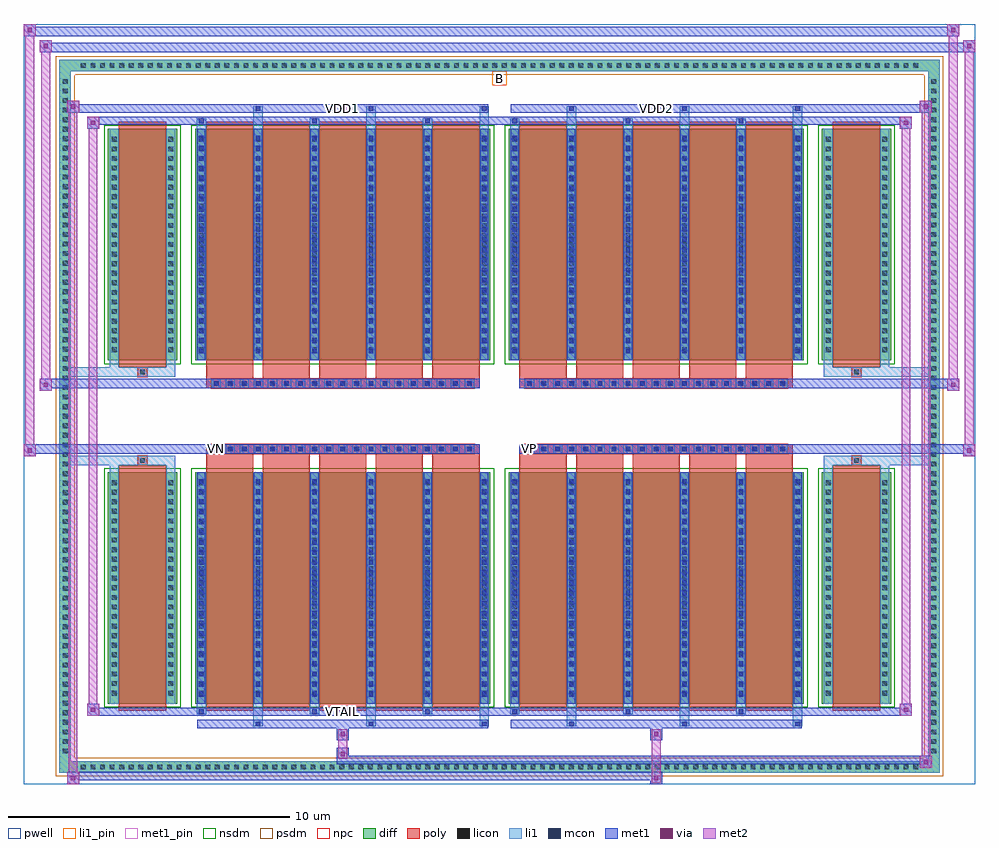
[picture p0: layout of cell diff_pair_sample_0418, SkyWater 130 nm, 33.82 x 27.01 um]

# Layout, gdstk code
import gdstk
lib = gdstk.Library(unit=1e-6, precision=5e-09)
def R(c, l, rs):  # rectangles x0, y0, x1, y1
    for r in rs: c.add(gdstk.rectangle(r[:2], r[2:], *l))
def A(c, l, x, y, w, h, nx, ny, dx, dy):  # array of equal rectangles
    R(c, l, [(x+i*dx, y+j*dy, x+i*dx+w, y+j*dy+h) for i in range(nx) for j in range(ny)])
def P(c, l, *ps):  # polygons
    for p in ps: c.add(gdstk.Polygon(p, *l))
pwell = (64, 44)
diff = (65, 20)
poly = (66, 20)
licon = (66, 44)
li1_pin = (67, 16)
li1 = (67, 20)
mcon = (67, 44)
met1_pin = (68, 16)
met1 = (68, 20)
via = (68, 44)
met2 = (69, 20)
nsdm = (93, 44)
psdm = (94, 20)
npc = (95, 20)

diff_pair_sample_0418 = lib.new_cell('diff_pair_sample_0418')
R(diff_pair_sample_0418, pwell, [(-16.91,-13.07,16.91,13.94), (-14.23,-11.26,-0.01,-0.8), (0.01,-11.26,14.23,-0.8), (-14.23,0.8,-0.01,11.26), (0.01,0.8,14.23,11.26)])
A(diff_pair_sample_0418, diff, -14.995, -12.67, 0.41, 0.41, 88, 2, 0.34, 24.93)
A(diff_pair_sample_0418, diff, -15.64, -12.105, 0.41, 0.41, 1, 71, 0, 0.34)
A(diff_pair_sample_0418, diff, 15.23, -12.105, 0.41, 0.41, 1, 71, 0, 0.34)
R(diff_pair_sample_0418, diff, [(-14.995,-12.67,14.995,-12.26), (-15.64,-12.105,-15.23,12.105), (15.23,-12.105,15.64,12.105), (-13.92,-10.215,-11.46,-1.985), (-10.82,-10.215,-0.32,-1.985), (0.32,-10.215,10.82,-1.985), (11.46,-10.215,13.92,-1.985), (-13.92,1.985,-11.46,10.215), (-10.82,1.985,-0.32,10.215), (0.32,1.985,10.82,10.215), (11.46,1.985,13.92,10.215), (-14.995,12.26,14.995,12.67)])
P(diff_pair_sample_0418, diff, [(15.64,12.67),(-15.64,12.67),(-15.64,-12.26),(-15.23,-12.26),(-15.23,12.26),(15.23,12.26),(15.23,-12.26),(-15.23,-12.26),(-15.64,-12.26),(-15.64,-12.67),(15.64,-12.67)])
A(diff_pair_sample_0418, poly, -10.43, -10.465, 1.68, 8.73, 5, 2, 2.01, 12.2)
A(diff_pair_sample_0418, poly, 0.71, -10.465, 1.68, 8.73, 5, 2, 2.01, 12.2)
A(diff_pair_sample_0418, poly, -10.43, -1.735, 1.68, 0.405, 5, 2, 2.01, 3.065)
A(diff_pair_sample_0418, poly, 0.71, -1.735, 1.68, 0.405, 5, 2, 2.01, 3.065)
A(diff_pair_sample_0418, poly, -10.235, -1.33, 0.33, 0.33, 19, 2, 0.5, 2.33)
A(diff_pair_sample_0418, poly, 0.905, -1.33, 0.33, 0.33, 19, 2, 0.5, 2.33)
R(diff_pair_sample_0418, poly, [(-13.53,-10.465,-11.85,-1.735), (11.85,-10.465,13.53,-1.735), (-12.855,-1.735,-12.525,-1.405), (-12.855,-1.735,-12.525,-1.405), (12.525,-1.735,12.855,-1.405), (12.525,-1.735,12.855,-1.405), (-10.43,-1.33,-0.71,-1), (0.71,-1.33,10.43,-1), (-10.43,1,-0.71,1.33), (0.71,1,10.43,1.33), (-12.855,1.405,-12.525,1.735), (-12.855,1.405,-12.525,1.735), (12.525,1.405,12.855,1.735), (12.525,1.405,12.855,1.735), (-13.53,1.735,-11.85,10.465), (11.85,1.735,13.53,10.465)])
A(diff_pair_sample_0418, licon, -14.875, -12.55, 0.17, 0.17, 88, 2, 0.34, 24.93)
A(diff_pair_sample_0418, licon, -15.52, -11.985, 0.17, 0.17, 1, 71, 0, 0.34)
A(diff_pair_sample_0418, licon, 15.35, -11.985, 0.17, 0.17, 1, 71, 0, 0.34)
A(diff_pair_sample_0418, licon, -13.78, -9.925, 0.17, 0.17, 1, 23, 0, 0.34)
A(diff_pair_sample_0418, licon, -11.77, -9.925, 0.17, 0.17, 1, 23, 0, 0.34)
A(diff_pair_sample_0418, licon, -10.68, -9.925, 0.17, 0.17, 6, 23, 2.01, 0.34)
A(diff_pair_sample_0418, licon, 0.46, -9.925, 0.17, 0.17, 6, 23, 2.01, 0.34)
A(diff_pair_sample_0418, licon, 11.6, -9.925, 0.17, 0.17, 1, 23, 0, 0.34)
A(diff_pair_sample_0418, licon, 13.61, -9.925, 0.17, 0.17, 1, 23, 0, 0.34)
A(diff_pair_sample_0418, licon, -10.155, -1.25, 0.17, 0.17, 19, 2, 0.5, 2.33)
A(diff_pair_sample_0418, licon, 0.985, -1.25, 0.17, 0.17, 19, 2, 0.5, 2.33)
A(diff_pair_sample_0418, licon, -13.78, 2.275, 0.17, 0.17, 1, 23, 0, 0.34)
A(diff_pair_sample_0418, licon, -11.77, 2.275, 0.17, 0.17, 1, 23, 0, 0.34)
A(diff_pair_sample_0418, licon, -10.68, 2.275, 0.17, 0.17, 6, 23, 2.01, 0.34)
A(diff_pair_sample_0418, licon, 0.46, 2.275, 0.17, 0.17, 6, 23, 2.01, 0.34)
A(diff_pair_sample_0418, licon, 11.6, 2.275, 0.17, 0.17, 1, 23, 0, 0.34)
A(diff_pair_sample_0418, licon, 13.61, 2.275, 0.17, 0.17, 1, 23, 0, 0.34)
R(diff_pair_sample_0418, licon, [(-12.775,-1.655,-12.605,-1.485), (12.605,-1.655,12.775,-1.485), (-12.775,1.485,-12.605,1.655), (12.605,1.485,12.775,1.655)])
R(diff_pair_sample_0418, li1_pin, [(-0.25,11.76,0.25,12.26)])
A(diff_pair_sample_0418, li1, -14.955, -12.63, 0.33, 0.33, 88, 2, 0.34, 24.93)
A(diff_pair_sample_0418, li1, -15.6, -12.065, 0.33, 0.33, 1, 71, 0, 0.34)
A(diff_pair_sample_0418, li1, 15.27, -12.065, 0.33, 0.33, 1, 71, 0, 0.34)
A(diff_pair_sample_0418, li1, -8.75, -11.02, 0.33, 0.805, 3, 2, 4.02, 21.235)
A(diff_pair_sample_0418, li1, -8.67, -11.02, 0.17, 0.17, 3, 2, 4.02, 21.87)
A(diff_pair_sample_0418, li1, 2.39, -11.02, 0.33, 0.805, 3, 2, 4.02, 21.235)
A(diff_pair_sample_0418, li1, 2.47, -11.02, 0.17, 0.17, 3, 2, 4.02, 21.87)
A(diff_pair_sample_0418, li1, -10.76, -10.59, 0.33, 0.375, 3, 2, 4.02, 20.805)
A(diff_pair_sample_0418, li1, -10.68, -10.59, 0.17, 0.17, 3, 2, 4.02, 21.01)
A(diff_pair_sample_0418, li1, 0.38, -10.59, 0.33, 0.375, 3, 2, 4.02, 20.805)
A(diff_pair_sample_0418, li1, 0.46, -10.59, 0.17, 0.17, 3, 2, 4.02, 21.01)
A(diff_pair_sample_0418, li1, -10.76, -10.215, 0.33, 8.23, 6, 2, 2.01, 12.2)
A(diff_pair_sample_0418, li1, 0.38, -10.215, 0.33, 8.23, 6, 2, 2.01, 12.2)
A(diff_pair_sample_0418, li1, -13.86, -10.005, 0.33, 0.33, 1, 23, 0, 0.34)
A(diff_pair_sample_0418, li1, -11.85, -10.005, 0.33, 0.33, 1, 23, 0, 0.34)
A(diff_pair_sample_0418, li1, -10.76, -10.005, 0.33, 0.33, 6, 23, 2.01, 0.34)
A(diff_pair_sample_0418, li1, 0.38, -10.005, 0.33, 0.33, 6, 23, 2.01, 0.34)
A(diff_pair_sample_0418, li1, 11.52, -10.005, 0.33, 0.33, 1, 23, 0, 0.34)
A(diff_pair_sample_0418, li1, 13.53, -10.005, 0.33, 0.33, 1, 23, 0, 0.34)
A(diff_pair_sample_0418, li1, -10.68, -9.965, 0.17, 0.17, 6, 22, 2.01, 0.36)
A(diff_pair_sample_0418, li1, -10.68, -9.965, 0.17, 7.73, 6, 2, 2.01, 12.2)
A(diff_pair_sample_0418, li1, 0.46, -9.965, 0.17, 0.17, 6, 22, 2.01, 0.36)
A(diff_pair_sample_0418, li1, 0.46, -9.965, 0.17, 7.73, 6, 2, 2.01, 12.2)
A(diff_pair_sample_0418, li1, -10.235, -1.33, 0.33, 0.33, 19, 2, 0.5, 2.33)
A(diff_pair_sample_0418, li1, 0.905, -1.33, 0.33, 0.33, 19, 2, 0.5, 2.33)
A(diff_pair_sample_0418, li1, -13.86, 2.195, 0.33, 0.33, 1, 23, 0, 0.34)
A(diff_pair_sample_0418, li1, -11.85, 2.195, 0.33, 0.33, 1, 23, 0, 0.34)
A(diff_pair_sample_0418, li1, -10.76, 2.195, 0.33, 0.33, 6, 23, 2.01, 0.34)
A(diff_pair_sample_0418, li1, 0.38, 2.195, 0.33, 0.33, 6, 23, 2.01, 0.34)
A(diff_pair_sample_0418, li1, 11.52, 2.195, 0.33, 0.33, 1, 23, 0, 0.34)
A(diff_pair_sample_0418, li1, 13.53, 2.195, 0.33, 0.33, 1, 23, 0, 0.34)
A(diff_pair_sample_0418, li1, -10.68, 2.235, 0.17, 0.17, 6, 22, 2.01, 0.36)
A(diff_pair_sample_0418, li1, 0.46, 2.235, 0.17, 0.17, 6, 22, 2.01, 0.36)
R(diff_pair_sample_0418, li1, [(-15.64,-12.67,-15.23,-12.26), (-15.64,-12.67,-15.23,-12.26), (-15.23,-12.67,15.23,-12.26), (15.23,-12.67,15.64,-12.26), (15.23,-12.67,15.64,-12.26), (-15.64,-12.26,-15.23,12.26), (15.23,-12.26,15.64,12.26), (-13.86,-10.215,-13.53,-1.985), (-11.85,-10.215,-11.52,-1.985), (11.52,-10.215,11.85,-1.985), (13.53,-10.215,13.86,-1.985), (-13.86,-1.985,-13.53,-1.405), (-11.85,-1.985,-11.52,-1.405), (11.52,-1.985,11.85,-1.405), (13.53,-1.985,13.86,-1.405), (-15.64,-1.735,-12.855,-1.405), (-13.86,-1.735,-12.855,-1.405), (-12.855,-1.735,-12.525,-1.405), (-12.525,-1.735,-11.52,-1.405), (11.52,-1.735,12.525,-1.405), (12.525,-1.735,12.855,-1.405), (12.525,-1.735,15.64,-1.405), (12.855,-1.735,13.86,-1.405), (-15.64,1.405,-12.855,1.735), (-13.86,1.405,-12.855,1.735), (-13.86,1.405,-13.53,1.985), (-12.855,1.405,-12.525,1.735), (-12.525,1.405,-11.52,1.735), (-11.85,1.405,-11.52,1.985), (11.52,1.405,12.525,1.735), (11.52,1.405,11.85,1.985), (12.525,1.405,12.855,1.735), (12.525,1.405,15.64,1.735), (12.855,1.405,13.86,1.735), (13.53,1.405,13.86,1.985), (-13.86,1.985,-13.53,10.215), (-11.85,1.985,-11.52,10.215), (11.52,1.985,11.85,10.215), (13.53,1.985,13.86,10.215), (-15.64,12.26,-15.23,12.67), (-15.64,12.26,-15.23,12.67), (-15.23,12.26,15.23,12.67), (15.23,12.26,15.64,12.67), (15.23,12.26,15.64,12.67)])
A(diff_pair_sample_0418, mcon, -8.67, -11.02, 0.17, 0.17, 3, 2, 4.02, 21.87)
A(diff_pair_sample_0418, mcon, 2.47, -11.02, 0.17, 0.17, 3, 2, 4.02, 21.87)
A(diff_pair_sample_0418, mcon, -10.68, -10.59, 0.17, 0.17, 3, 2, 4.02, 21.01)
A(diff_pair_sample_0418, mcon, 0.46, -10.59, 0.17, 0.17, 3, 2, 4.02, 21.01)
A(diff_pair_sample_0418, mcon, -10.68, -9.965, 0.17, 0.17, 6, 22, 2.01, 0.36)
A(diff_pair_sample_0418, mcon, 0.46, -9.965, 0.17, 0.17, 6, 22, 2.01, 0.36)
A(diff_pair_sample_0418, mcon, -10.155, -1.25, 0.17, 0.17, 19, 2, 0.5, 2.33)
A(diff_pair_sample_0418, mcon, 0.985, -1.25, 0.17, 0.17, 19, 2, 0.5, 2.33)
A(diff_pair_sample_0418, mcon, -10.68, 2.235, 0.17, 0.17, 6, 22, 2.01, 0.36)
A(diff_pair_sample_0418, mcon, 0.46, 2.235, 0.17, 0.17, 6, 22, 2.01, 0.36)
R(diff_pair_sample_0418, met1_pin, [(-5.705,-10.63,-5.435,-10.36), (-10.205,-1.29,-9.935,-1.02), (0.935,-1.29,1.205,-1.02), (-5.705,10.81,-5.435,11.08), (5.435,10.81,5.705,11.08)])
A(diff_pair_sample_0418, met1, -8.73, -11.08, 0.29, 0.29, 3, 2, 4.02, 21.87)
A(diff_pair_sample_0418, met1, 2.41, -11.08, 0.29, 0.29, 3, 2, 4.02, 21.87)
A(diff_pair_sample_0418, met1, -10.74, -10.65, 0.29, 0.29, 3, 2, 4.02, 21.01)
A(diff_pair_sample_0418, met1, 0.4, -10.65, 0.29, 0.29, 3, 2, 4.02, 21.01)
A(diff_pair_sample_0418, met1, -10.74, -10.215, 0.29, 8.23, 6, 2, 2.01, 12.2)
A(diff_pair_sample_0418, met1, 0.4, -10.215, 0.29, 8.23, 6, 2, 2.01, 12.2)
A(diff_pair_sample_0418, met1, -10.74, -10.025, 0.29, 0.29, 6, 22, 2.01, 0.36)
A(diff_pair_sample_0418, met1, 0.4, -10.025, 0.29, 0.29, 6, 22, 2.01, 0.36)
A(diff_pair_sample_0418, met1, -10.215, -1.31, 0.29, 0.29, 19, 2, 0.5, 2.33)
A(diff_pair_sample_0418, met1, 0.925, -1.31, 0.29, 0.29, 19, 2, 0.5, 2.33)
A(diff_pair_sample_0418, met1, -10.74, 2.175, 0.29, 0.29, 6, 22, 2.01, 0.36)
A(diff_pair_sample_0418, met1, 0.4, 2.175, 0.29, 0.29, 6, 22, 2.01, 0.36)
R(diff_pair_sample_0418, met1, [(-15.37,-13.07,-14.94,-12.64), (5.355,-13.07,5.785,-12.64), (-15.37,-12.93,5.785,-12.64), (14.94,-12.5,15.37,-12.07), (-5.785,-12.36,15.37,-12.07), (-5.785,-12.22,-5.355,-11.79), (-5.785,-11.51,-5.355,-11.08), (5.355,-11.51,5.785,-11.08), (-10.74,-11.08,-0.4,-10.79), (0.4,-11.08,10.74,-10.79), (-14.66,-10.65,-14.23,-10.22), (-14.66,-10.65,-10.74,-10.36), (-10.74,-10.65,-0.4,-10.36), (-0.4,-10.65,0.4,-10.36), (0.4,-10.65,10.74,-10.36), (10.74,-10.65,14.66,-10.36), (14.23,-10.65,14.66,-10.22), (-16.91,-1.43,-16.48,-1), (16.48,-1.43,16.91,-1), (-16.91,-1.33,-0.71,-1), (-10.43,-1.33,-0.71,-1), (0.71,-1.33,10.43,-1), (0.71,-1.33,16.91,-1), (-16.34,0.9,-15.91,1.33), (15.91,0.9,16.34,1.33), (-16.34,1,-10.43,1.33), (-10.43,1,-0.71,1.33), (0.71,1,10.43,1.33), (10.43,1,16.34,1.33), (-14.66,10.22,-14.23,10.65), (14.23,10.22,14.66,10.65), (-14.66,10.36,-10.74,10.65), (-10.74,10.36,-0.4,10.65), (-0.4,10.36,0.4,10.65), (0.4,10.36,10.74,10.65), (10.74,10.36,14.66,10.65), (-15.37,10.79,-14.94,11.22), (-15.37,10.79,-10.74,11.08), (-10.74,10.79,-0.4,11.08), (0.4,10.79,10.74,11.08), (10.74,10.79,15.37,11.08), (14.94,10.79,15.37,11.22), (-16.34,12.94,-15.91,13.37), (-16.34,12.94,-14.23,13.27), (-14.23,12.94,14.23,13.27), (14.23,12.94,16.91,13.27), (16.48,12.94,16.91,13.37), (-16.91,13.51,-16.48,13.94), (-16.91,13.51,-14.23,13.84), (-14.23,13.51,14.23,13.84), (14.23,13.51,16.34,13.84), (15.91,13.51,16.34,13.94)])
R(diff_pair_sample_0418, via, [(-15.23,-12.93,-15.08,-12.78), (5.495,-12.93,5.645,-12.78), (15.08,-12.36,15.23,-12.21), (-5.645,-12.08,-5.495,-11.93), (-5.645,-11.37,-5.495,-11.22), (5.495,-11.37,5.645,-11.22), (-14.52,-10.51,-14.37,-10.36), (14.37,-10.51,14.52,-10.36), (-16.77,-1.29,-16.62,-1.14), (16.62,-1.29,16.77,-1.14), (-16.2,1.04,-16.05,1.19), (16.05,1.04,16.2,1.19), (-14.52,10.36,-14.37,10.51), (14.37,10.36,14.52,10.51), (-15.23,10.93,-15.08,11.08), (15.08,10.93,15.23,11.08), (-16.2,13.08,-16.05,13.23), (16.62,13.08,16.77,13.23), (-16.77,13.65,-16.62,13.8), (16.05,13.65,16.2,13.8)])
R(diff_pair_sample_0418, met2, [(-15.37,-13.07,-14.94,-12.64), (-15.3,-13.07,-15.01,11.22), (-15.01,-13.07,-14.94,-12.64), (-15.32,-13.02,-14.99,-12.69), (5.405,-13.02,5.735,-12.69), (5.405,-12.69,5.735,-11.46), (14.94,-12.5,15.37,-12.07), (15.01,-12.5,15.3,11.22), (15.3,-12.5,15.37,-12.07), (14.99,-12.45,15.32,-12.12), (-5.735,-12.17,-5.405,-11.84), (-5.735,-11.84,-5.405,-11.46), (-5.735,-11.46,-5.405,-11.13), (5.405,-11.46,5.735,-11.13), (-14.66,-10.65,-14.23,-10.22), (-14.59,-10.65,-14.3,10.65), (-14.3,-10.65,-14.23,-10.22), (14.23,-10.65,14.66,-10.22), (14.3,-10.65,14.59,10.65), (14.59,-10.65,14.66,-10.22), (-14.61,-10.6,-14.28,-10.27), (14.28,-10.6,14.61,-10.27), (-16.91,-1.43,-16.48,-1), (-16.86,-1.43,-16.53,13.94), (-16.53,-1.43,-16.48,-1), (16.48,-1.43,16.91,-1), (16.53,-1.43,16.86,13.37), (16.86,-1.43,16.91,-1), (-16.86,-1.38,-16.53,-1.05), (16.53,-1.38,16.86,-1.05), (-16.34,0.9,-15.91,1.33), (-16.29,0.9,-15.96,13.37), (-15.96,0.9,-15.91,1.33), (15.91,0.9,16.34,1.33), (15.96,0.9,16.29,13.94), (16.29,0.9,16.34,1.33), (-16.29,0.95,-15.96,1.28), (15.96,0.95,16.29,1.28), (-14.66,10.22,-14.23,10.65), (-14.3,10.22,-14.23,10.65), (14.23,10.22,14.66,10.65), (14.59,10.22,14.66,10.65), (-14.61,10.27,-14.28,10.6), (14.28,10.27,14.61,10.6), (-15.37,10.79,-14.94,11.22), (-15.01,10.79,-14.94,11.22), (14.94,10.79,15.37,11.22), (15.3,10.79,15.37,11.22), (-15.32,10.84,-14.99,11.17), (14.99,10.84,15.32,11.17), (-16.34,12.94,-15.91,13.37), (-15.96,12.94,-15.91,13.37), (16.48,12.94,16.91,13.37), (16.86,12.94,16.91,13.37), (-16.29,12.99,-15.96,13.32), (16.53,12.99,16.86,13.32), (-16.91,13.51,-16.48,13.94), (-16.53,13.51,-16.48,13.94), (15.91,13.51,16.34,13.94), (16.29,13.51,16.34,13.94), (-16.86,13.56,-16.53,13.89), (15.96,13.56,16.29,13.89)])
R(diff_pair_sample_0418, nsdm, [(-14.05,-10.345,-11.33,-1.855), (-10.95,-10.345,-0.19,-1.855), (0.19,-10.345,10.95,-1.855), (11.33,-10.345,14.05,-1.855), (-14.05,1.855,-11.33,10.345), (-10.95,1.855,-0.19,10.345), (0.19,1.855,10.95,10.345), (11.33,1.855,14.05,10.345)])
P(diff_pair_sample_0418, psdm, [(15.77,12.8),(-15.77,12.8),(-15.77,-12.13),(-15.1,-12.13),(-15.1,12.13),(15.1,12.13),(15.1,-12.13),(-15.1,-12.13),(-15.77,-12.13),(-15.77,-12.8),(15.77,-12.8)])
A(diff_pair_sample_0418, npc, -10.255, -1.35, 0.37, 0.37, 19, 2, 0.5, 2.33)
A(diff_pair_sample_0418, npc, 0.885, -1.35, 0.37, 0.37, 19, 2, 0.5, 2.33)
R(diff_pair_sample_0418, npc, [(-12.875,-1.755,-12.505,-1.385), (12.505,-1.755,12.875,-1.385), (-10.255,-1.35,-9.385,-0.98), (-10.255,-1.35,-9.385,-0.98), (-9.755,-1.35,-8.885,-0.98), (-9.755,-1.35,-8.885,-0.98), (-9.255,-1.35,-8.385,-0.98), (-9.255,-1.35,-8.385,-0.98), (-8.755,-1.35,-7.885,-0.98), (-8.755,-1.35,-7.885,-0.98), (-8.255,-1.35,-7.385,-0.98), (-8.255,-1.35,-7.385,-0.98), (-7.755,-1.35,-6.885,-0.98), (-7.755,-1.35,-6.885,-0.98), (-7.255,-1.35,-6.385,-0.98), (-7.255,-1.35,-6.385,-0.98), (-6.755,-1.35,-5.885,-0.98), (-6.755,-1.35,-5.885,-0.98), (-6.255,-1.35,-5.385,-0.98), (-6.255,-1.35,-5.385,-0.98), (-5.755,-1.35,-4.885,-0.98), (-5.755,-1.35,-4.885,-0.98), (-5.255,-1.35,-4.385,-0.98), (-5.255,-1.35,-4.385,-0.98), (-4.755,-1.35,-3.885,-0.98), (-4.755,-1.35,-3.885,-0.98), (-4.255,-1.35,-3.385,-0.98), (-4.255,-1.35,-3.385,-0.98), (-3.755,-1.35,-2.885,-0.98), (-3.755,-1.35,-2.885,-0.98), (-3.255,-1.35,-2.385,-0.98), (-3.255,-1.35,-2.385,-0.98), (-2.755,-1.35,-1.885,-0.98), (-2.755,-1.35,-1.885,-0.98), (-2.255,-1.35,-1.385,-0.98), (-2.255,-1.35,-1.385,-0.98), (-1.755,-1.35,-0.885,-0.98), (-1.755,-1.35,-0.885,-0.98), (0.885,-1.35,1.755,-0.98), (0.885,-1.35,1.755,-0.98), (1.385,-1.35,2.255,-0.98), (1.385,-1.35,2.255,-0.98), (1.885,-1.35,2.755,-0.98), (1.885,-1.35,2.755,-0.98), (2.385,-1.35,3.255,-0.98), (2.385,-1.35,3.255,-0.98), (2.885,-1.35,3.755,-0.98), (2.885,-1.35,3.755,-0.98), (3.385,-1.35,4.255,-0.98), (3.385,-1.35,4.255,-0.98), (3.885,-1.35,4.755,-0.98), (3.885,-1.35,4.755,-0.98), (4.385,-1.35,5.255,-0.98), (4.385,-1.35,5.255,-0.98), (4.885,-1.35,5.755,-0.98), (4.885,-1.35,5.755,-0.98), (5.385,-1.35,6.255,-0.98), (5.385,-1.35,6.255,-0.98), (5.885,-1.35,6.755,-0.98), (5.885,-1.35,6.755,-0.98), (6.385,-1.35,7.255,-0.98), (6.385,-1.35,7.255,-0.98), (6.885,-1.35,7.755,-0.98), (6.885,-1.35,7.755,-0.98), (7.385,-1.35,8.255,-0.98), (7.385,-1.35,8.255,-0.98), (7.885,-1.35,8.755,-0.98), (7.885,-1.35,8.755,-0.98), (8.385,-1.35,9.255,-0.98), (8.385,-1.35,9.255,-0.98), (8.885,-1.35,9.755,-0.98), (8.885,-1.35,9.755,-0.98), (9.385,-1.35,10.255,-0.98), (9.385,-1.35,10.255,-0.98), (-10.255,0.98,-9.385,1.35), (-10.255,0.98,-9.385,1.35), (-9.755,0.98,-8.885,1.35), (-9.755,0.98,-8.885,1.35), (-9.255,0.98,-8.385,1.35), (-9.255,0.98,-8.385,1.35), (-8.755,0.98,-7.885,1.35), (-8.755,0.98,-7.885,1.35), (-8.255,0.98,-7.385,1.35), (-8.255,0.98,-7.385,1.35), (-7.755,0.98,-6.885,1.35), (-7.755,0.98,-6.885,1.35), (-7.255,0.98,-6.385,1.35), (-7.255,0.98,-6.385,1.35), (-6.755,0.98,-5.885,1.35), (-6.755,0.98,-5.885,1.35), (-6.255,0.98,-5.385,1.35), (-6.255,0.98,-5.385,1.35), (-5.755,0.98,-4.885,1.35), (-5.755,0.98,-4.885,1.35), (-5.255,0.98,-4.385,1.35), (-5.255,0.98,-4.385,1.35), (-4.755,0.98,-3.885,1.35), (-4.755,0.98,-3.885,1.35), (-4.255,0.98,-3.385,1.35), (-4.255,0.98,-3.385,1.35), (-3.755,0.98,-2.885,1.35), (-3.755,0.98,-2.885,1.35), (-3.255,0.98,-2.385,1.35), (-3.255,0.98,-2.385,1.35), (-2.755,0.98,-1.885,1.35), (-2.755,0.98,-1.885,1.35), (-2.255,0.98,-1.385,1.35), (-2.255,0.98,-1.385,1.35), (-1.755,0.98,-0.885,1.35), (-1.755,0.98,-0.885,1.35), (0.885,0.98,1.755,1.35), (0.885,0.98,1.755,1.35), (1.385,0.98,2.255,1.35), (1.385,0.98,2.255,1.35), (1.885,0.98,2.755,1.35), (1.885,0.98,2.755,1.35), (2.385,0.98,3.255,1.35), (2.385,0.98,3.255,1.35), (2.885,0.98,3.755,1.35), (2.885,0.98,3.755,1.35), (3.385,0.98,4.255,1.35), (3.385,0.98,4.255,1.35), (3.885,0.98,4.755,1.35), (3.885,0.98,4.755,1.35), (4.385,0.98,5.255,1.35), (4.385,0.98,5.255,1.35), (4.885,0.98,5.755,1.35), (4.885,0.98,5.755,1.35), (5.385,0.98,6.255,1.35), (5.385,0.98,6.255,1.35), (5.885,0.98,6.755,1.35), (5.885,0.98,6.755,1.35), (6.385,0.98,7.255,1.35), (6.385,0.98,7.255,1.35), (6.885,0.98,7.755,1.35), (6.885,0.98,7.755,1.35), (7.385,0.98,8.255,1.35), (7.385,0.98,8.255,1.35), (7.885,0.98,8.755,1.35), (7.885,0.98,8.755,1.35), (8.385,0.98,9.255,1.35), (8.385,0.98,9.255,1.35), (8.885,0.98,9.755,1.35), (8.885,0.98,9.755,1.35), (9.385,0.98,10.255,1.35), (9.385,0.98,10.255,1.35), (-12.875,1.385,-12.505,1.755), (12.505,1.385,12.875,1.755)])
diff_pair_sample_0418.add(gdstk.Label('VTAIL', (-5.57,-10.495), layer=68, texttype=5))
diff_pair_sample_0418.add(gdstk.Label('VN', (-10.07,-1.155), layer=68, texttype=5))
diff_pair_sample_0418.add(gdstk.Label('VP', (1.07,-1.155), layer=68, texttype=5))
diff_pair_sample_0418.add(gdstk.Label('B', (0,12.01), layer=67, texttype=5))
diff_pair_sample_0418.add(gdstk.Label('VDD2', (5.57,10.945), layer=68, texttype=5))
diff_pair_sample_0418.add(gdstk.Label('VDD1', (-5.57,10.945), layer=68, texttype=5))

lib.write_gds('diff_pair_sample_0418.gds')
